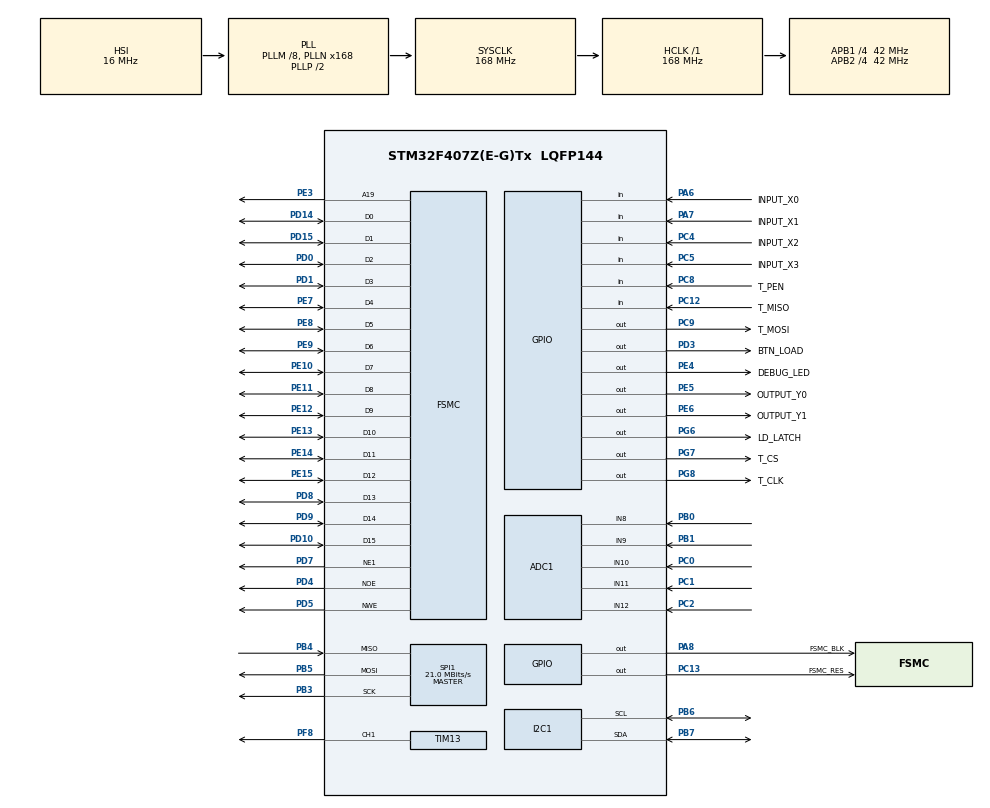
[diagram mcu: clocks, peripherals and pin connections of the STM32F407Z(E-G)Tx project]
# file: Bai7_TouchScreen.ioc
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ADC1.Channel-0\#ChannelRegularConversion=ADC_CHANNEL_8
ADC1.Channel-1\#ChannelRegularConversion=ADC_CHANNEL_9
ADC1.Channel-2\#ChannelRegularConversion=ADC_CHANNEL_10
ADC1.Channel-3\#ChannelRegularConversion=ADC_CHANNEL_11
ADC1.Channel-4\#ChannelRegularConversion=ADC_CHANNEL_12
ADC1.NbrOfConversion=5
ADC1.NbrOfConversionFlag=1
ADC1.Rank-0\#ChannelRegularConversion=1
ADC1.Rank-1\#ChannelRegularConversion=2
ADC1.Rank-2\#ChannelRegularConversion=3
ADC1.Rank-3\#ChannelRegularConversion=4
ADC1.Rank-4\#ChannelRegularConversion=5
ADC1.SamplingTime-0\#ChannelRegularConversion=ADC_SAMPLETIME_3CYCLES
ADC1.SamplingTime-1\#ChannelRegularConversion=ADC_SAMPLETIME_3CYCLES
ADC1.SamplingTime-2\#ChannelRegularConversion=ADC_SAMPLETIME_3CYCLES
ADC1.SamplingTime-3\#ChannelRegularConversion=ADC_SAMPLETIME_3CYCLES
ADC1.SamplingTime-4\#ChannelRegularConversion=ADC_SAMPLETIME_3CYCLES
ADC1.ScanConvMode=ENABLE
ADC1.master=1
Dma.ADC1.0.Direction=DMA_PERIPH_TO_MEMORY
Dma.ADC1.0.FIFOMode=DMA_FIFOMODE_DISABLE
Dma.ADC1.0.Instance=DMA2_Stream0
Dma.ADC1.0.MemDataAlignment=DMA_MDATAALIGN_HALFWORD
Dma.ADC1.0.MemInc=DMA_MINC_ENABLE
Dma.ADC1.0.Mode=DMA_CIRCULAR
Dma.ADC1.0.PeriphDataAlignment=DMA_PDATAALIGN_HALFWORD
Dma.ADC1.0.PeriphInc=DMA_PINC_DISABLE
Dma.ADC1.0.Priority=DMA_PRIORITY_LOW
Dma.Request0=ADC1
FSMC.AddressSetupTime1=0xf
FSMC.BusTurnAroundDuration1=0
FSMC.DataSetupTime1=60
FSMC.ExtendedAddressSetupTime1=8
FSMC.ExtendedBusTurnAroundDuration1=0
FSMC.ExtendedDataSetupTime1=9
FSMC.ExtendedMode1=FSMC_EXTENDED_MODE_ENABLE
I2C1.I2C_Mode=I2C_Standard
Mcu.Family=STM32F4
Mcu.Name=STM32F407Z(E-G)Tx
Mcu.Package=LQFP144
NVIC.DMA2_Stream0_IRQn=true\:0\:0\:false\:false\:true\:false\:true\:true
NVIC.PriorityGroup=NVIC_PRIORITYGROUP_4
NVIC.TIM2_IRQn=true\:0\:0\:false\:false\:true\:true\:true\:true
PA13.Mode=Serial_Wire
PA13.Signal=SYS_JTMS-SWDIO
PA14.Mode=Serial_Wire
PA14.Signal=SYS_JTCK-SWCLK
PA6.GPIO_Label=INPUT_X0
PA6.Signal=GPIO_Input
PA7.GPIO_Label=INPUT_X1
PA7.Signal=GPIO_Input
PA8.GPIO_Label=FSMC_BLK
PA8.Signal=GPIO_Output
PB0.Signal=ADCx_IN8
PB1.Signal=ADCx_IN9
PB3.Mode=Full_Duplex_Master
PB3.Signal=SPI1_SCK
PB4.Mode=Full_Duplex_Master
PB4.Signal=SPI1_MISO
PB5.Mode=Full_Duplex_Master
PB5.Signal=SPI1_MOSI
PB6.Mode=I2C
PB6.Signal=I2C1_SCL
PB7.Mode=I2C
PB7.Signal=I2C1_SDA
PC0.Signal=ADCx_IN10
PC1.Signal=ADCx_IN11
PC12.GPIO_Label=T_MISO
PC12.GPIO_PuPd=GPIO_PULLUP
PC12.Signal=GPIO_Input
PC13-ANTI_TAMP.GPIO_Label=FSMC_RES
PC13-ANTI_TAMP.Signal=GPIO_Output
PC2.Signal=ADCx_IN12
PC4.GPIO_Label=INPUT_X2
PC4.Signal=GPIO_Input
PC5.GPIO_Label=INPUT_X3
PC5.Signal=GPIO_Input
PC8.GPIO_Label=T_PEN
PC8.GPIO_PuPd=GPIO_PULLUP
PC8.Signal=GPIO_Input
PC9.GPIO_Label=T_MOSI
PC9.Signal=GPIO_Output
PD0.Signal=FSMC_D2_DA2
PD1.Signal=FSMC_D3_DA3
PD10.Signal=FSMC_D15_DA15
PD14.Signal=FSMC_D0_DA0
PD15.Signal=FSMC_D1_DA1
PD3.GPIO_Label=BTN_LOAD
PD3.Signal=GPIO_Output
PD4.Signal=FSMC_NOE
PD5.Signal=FSMC_NWE
PD7.Mode=NorPsramChipSelect1_1
PD7.Signal=FSMC_NE1
PD8.Signal=FSMC_D13_DA13
PD9.Signal=FSMC_D14_DA14
PE10.Signal=FSMC_D7_DA7
PE11.Signal=FSMC_D8_DA8
PE12.Signal=FSMC_D9_DA9
PE13.Signal=FSMC_D10_DA10
PE14.Signal=FSMC_D11_DA11
PE15.Signal=FSMC_D12_DA12
PE3.Signal=FSMC_A19
PE4.GPIO_Label=DEBUG_LED
PE4.Signal=GPIO_Output
PE5.GPIO_Label=OUTPUT_Y0
PE5.Signal=GPIO_Output
PE6.GPIO_Label=OUTPUT_Y1
PE6.Signal=GPIO_Output
PE7.Signal=FSMC_D4_DA4
PE8.Signal=FSMC_D5_DA5
PE9.Signal=FSMC_D6_DA6
PF8.Signal=S_TIM13_CH1
PG6.GPIO_Label=LD_LATCH
PG6.Signal=GPIO_Output
PG7.GPIO_Label=T_CS
PG7.Signal=GPIO_Output
PG8.GPIO_Label=T_CLK
PG8.Signal=GPIO_Output
PH0-OSC_IN.Mode=HSE-External-Oscillator
PH0-OSC_IN.Signal=RCC_OSC_IN
PH1-OSC_OUT.Mode=HSE-External-Oscillator
PH1-OSC_OUT.Signal=RCC_OSC_OUT
ProjectManager.HeapSize=0x200
ProjectManager.StackSize=0x400
ProjectManager.TargetToolchain=STM32CubeIDE
RCC.48MHZClocksFreq_Value=84000000
RCC.AHBFreq_Value=168000000
RCC.APB1CLKDivider=RCC_HCLK_DIV4
RCC.APB1Freq_Value=42000000
RCC.APB1TimFreq_Value=84000000
RCC.APB2CLKDivider=RCC_HCLK_DIV4
RCC.APB2Freq_Value=42000000
RCC.APB2TimFreq_Value=84000000
RCC.CortexFreq_Value=168000000
RCC.HCLKFreq_Value=168000000
RCC.HSE_VALUE=8000000
RCC.HSI_VALUE=16000000
RCC.LSE_VALUE=32768
RCC.PLLM=8
RCC.PLLN=168
RCC.SYSCLKFreq_VALUE=168000000
RCC.SYSCLKSource=RCC_SYSCLKSOURCE_PLLCLK
RCC.VCOOutputFreq_Value=336000000
SH.ADCx_IN10.0=ADC1_IN10,IN10
SH.ADCx_IN11.0=ADC1_IN11,IN11
SH.ADCx_IN12.0=ADC1_IN12,IN12
SH.ADCx_IN8.0=ADC1_IN8,IN8
SH.ADCx_IN9.0=ADC1_IN9,IN9
SH.FSMC_A19.0=FSMC_A19,A19_1
SH.FSMC_D0_DA0.0=FSMC_D0,16b-d1
SH.FSMC_D10_DA10.0=FSMC_D10,16b-d1
SH.FSMC_D11_DA11.0=FSMC_D11,16b-d1
SH.FSMC_D12_DA12.0=FSMC_D12,16b-d1
SH.FSMC_D13_DA13.0=FSMC_D13,16b-d1
SH.FSMC_D14_DA14.0=FSMC_D14,16b-d1
SH.FSMC_D15_DA15.0=FSMC_D15,16b-d1
SH.FSMC_D1_DA1.0=FSMC_D1,16b-d1
SH.FSMC_D2_DA2.0=FSMC_D2,16b-d1
SH.FSMC_D3_DA3.0=FSMC_D3,16b-d1
SH.FSMC_D4_DA4.0=FSMC_D4,16b-d1
SH.FSMC_D5_DA5.0=FSMC_D5,16b-d1
SH.FSMC_D6_DA6.0=FSMC_D6,16b-d1
SH.FSMC_D7_DA7.0=FSMC_D7,16b-d1
SH.FSMC_D8_DA8.0=FSMC_D8,16b-d1
SH.FSMC_D9_DA9.0=FSMC_D9,16b-d1
SH.FSMC_NOE.0=FSMC_NOE,Lcd1
SH.FSMC_NWE.0=FSMC_NWE,Lcd1
SH.S_TIM13_CH1.0=TIM13_CH1,PWM Generation1 CH1
SPI1.BaudRatePrescaler=SPI_BAUDRATEPRESCALER_2
SPI1.CalculateBaudRate=21.0 MBits/s
SPI1.Direction=SPI_DIRECTION_2LINES
SPI1.Mode=SPI_MODE_MASTER
SPI1.VirtualType=VM_MASTER
TIM1.Prescaler=84-1
TIM13.Channel=TIM_CHANNEL_1
TIM13.Period=100-1
TIM13.Prescaler=840-1
TIM2.Period=100-1
TIM2.Prescaler=840-1
VP_TIM13_VS_ClockSourceINT.Mode=Enable_Timer
VP_TIM1_VS_ClockSourceINT.Mode=Internal
VP_TIM2_VS_ClockSourceINT.Mode=Internal
board=custom

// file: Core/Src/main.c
/* USER CODE BEGIN Header */
/**
  ******************************************************************************
  * @file           : main.c
  * @brief          : Main program body
  ******************************************************************************
  * @attention
  *
  * <h2><center>&copy; Copyright (c) 2023 STMicroelectronics.
  * All rights reserved.</center></h2>
  *
  * This software component is licensed by ST under BSD 3-Clause license,
  * the "License"; You may not use this file except in compliance with the
  * License. You may obtain a copy of the License at:
  *                        opensource.org/licenses/BSD-3-Clause
  *
  ******************************************************************************
  */
/* USER CODE END Header */
#include "main.h"
#include "adc.h"
#include "dma.h"
#include "i2c.h"
#include "spi.h"
#include "tim.h"
#include "gpio.h"
#include "fsmc.h"
#include "snake.h"

/* USER CODE BEGIN Includes */
#include "software_timer.h"
#include "led_7seg.h"
#include "button.h"
#include "lcd.h"
#include "picture.h"
#include "ds3231.h"
#include "sensor.h"
#include "buzzer.h"
#include "touch.h"
#include "global.h"
/* USER CODE END Includes */

/* USER CODE BEGIN PV */
#define INIT 0
#define PLAY 1
#define CLEAR 2

int status = INIT;
/* USER CODE END PV */

void SystemClock_Config(void);
/* USER CODE BEGIN PFP */
void system_init();
void test_LedDebug();
void touchProcess();
uint8_t isButtonClear();
/* USER CODE END PFP */

int main(void)
{

  /* MCU Configuration--------------------------------------------------------*/

  /* Reset of all peripherals, Initializes the Flash interface and the Systick. */
  HAL_Init();

  /* Configure the system clock */
  SystemClock_Config();

  /* Initialize all configured peripherals */
  MX_GPIO_Init();
  MX_TIM2_Init();
  MX_SPI1_Init();
  MX_FSMC_Init();
  MX_I2C1_Init();
  MX_TIM13_Init();
  MX_DMA_Init();
  MX_ADC1_Init();
  MX_TIM1_Init();
  /* USER CODE BEGIN 2 */
  system_init();
  /* USER CODE END 2 */

  /* Infinite loop */
  /* USER CODE BEGIN WHILE */
 lcd_Clear(WHITE);
 while (1)
  {
	  //scan touch screen
	  touch_Scan();
    touchProcess();
    /* USER CODE END WHILE */

  }
}

void SystemClock_Config(void)
{
  RCC_OscInitTypeDef RCC_OscInitStruct = {0};
  RCC_ClkInitTypeDef RCC_ClkInitStruct = {0};

  /** Configure the main internal regulator output voltage
  */
  __HAL_RCC_PWR_CLK_ENABLE();
  __HAL_PWR_VOLTAGESCALING_CONFIG(PWR_REGULATOR_VOLTAGE_SCALE1);
  /** Initializes the RCC Oscillators according to the specified parameters
  * in the RCC_OscInitTypeDef structure.
  */
  RCC_OscInitStruct.OscillatorType = RCC_OSCILLATORTYPE_HSI;
  RCC_OscInitStruct.HSIState = RCC_HSI_ON;
  RCC_OscInitStruct.HSICalibrationValue = RCC_HSICALIBRATION_DEFAULT;
  RCC_OscInitStruct.PLL.PLLState = RCC_PLL_ON;
  RCC_OscInitStruct.PLL.PLLSource = RCC_PLLSOURCE_HSI;
  RCC_OscInitStruct.PLL.PLLM = 8;
  RCC_OscInitStruct.PLL.PLLN = 168;
  RCC_OscInitStruct.PLL.PLLP = RCC_PLLP_DIV2;
  RCC_OscInitStruct.PLL.PLLQ = 4;
  if (HAL_RCC_OscConfig(&RCC_OscInitStruct) != HAL_OK)
  {
    Error_Handler();
  }
  /** Initializes the CPU, AHB and APB buses clocks
  */
  RCC_ClkInitStruct.ClockType = RCC_CLOCKTYPE_HCLK|RCC_CLOCKTYPE_SYSCLK
                              |RCC_CLOCKTYPE_PCLK1|RCC_CLOCKTYPE_PCLK2;
  RCC_ClkInitStruct.SYSCLKSource = RCC_SYSCLKSOURCE_PLLCLK;
  RCC_ClkInitStruct.AHBCLKDivider = RCC_SYSCLK_DIV1;
  RCC_ClkInitStruct.APB1CLKDivider = RCC_HCLK_DIV4;
  RCC_ClkInitStruct.APB2CLKDivider = RCC_HCLK_DIV4;

  if (HAL_RCC_ClockConfig(&RCC_ClkInitStruct, FLASH_LATENCY_5) != HAL_OK)
  {
    Error_Handler();
  }
}

/* USER CODE BEGIN 4 */
void system_init(){
	  timer_init();
	  button_init();
	  lcd_init();
	  touch_init();
	  setTimer2(50);
    setTimerSnakeRun(250);
}

uint8_t count_led_debug = 0;
uint8_t isButtonClear(){
	if(!touch_IsTouched()) return 0;
	return touch_GetX() > 60 && touch_GetX() < 180 && touch_GetY() > 10 && touch_GetY() < 60;
}

uint8_t isButtonStart(){
  if (!touch_IsTouched()) return 0;
  return touch_GetX() > 60 && touch_GetX() < 180 && touch_GetY() > 10 && touch_GetY() < 60;
}

uint8_t isButtonTop(){
  if (!touch_IsTouched()) return 0;
  return touch_GetX() > 100 && touch_GetX() < 140 && touch_GetY() > 0 && touch_GetY() < 40;
}
uint8_t isButtonDown(){
  if (!touch_IsTouched()) return 0;
  return touch_GetX() > 100 && touch_GetX() < 140 && touch_GetY() > 280 && touch_GetY() < 320;
}
uint8_t isButtonLeft(){
  if (!touch_IsTouched()) return 0;
  return touch_GetX() > 0 && touch_GetX() < 40 && touch_GetY() > 140 && touch_GetY() < 180;
}
uint8_t isButtonRight(){
  if (!touch_IsTouched()) return 0;
  return touch_GetX() > 200 && touch_GetX() < 240 && touch_GetY() > 140 && touch_GetY() < 180;
}
void touchProcess(){
	switch (status) {
		case INIT:
      // display blue button
			lcd_Fill(60, 10, 180, 60, GBLUE);
			lcd_ShowStr(90, 20, "Start", RED, BLACK, 24, 1);
      if (isButtonStart()){
			  status = PLAY;
        lcd_Clear(WHITE);
        snakeInit();
        generateFruit();

        // Draw control buttons
        lcd_Fill(100, 0, 140, 40, GBLUE);      // Top center
        lcd_Fill(100, 280, 140, 320, GBLUE);   // Bottom center
        lcd_Fill(0, 140, 40, 180, GBLUE);    // Left center
        lcd_Fill(200, 140, 240, 180, GBLUE);  // Right center
        lcd_Fill(40,40,200,45, BLACK); //top wall
        lcd_Fill(40,275,200,280, BLACK); //down wall
        lcd_Fill(40,40,45,280 , BLACK); //left wall
        lcd_Fill(195,40,200,280, BLACK); //Right wall
      }
			break;
		case PLAY:
      if(touch_IsTouched()){
        if(isButtonTop()){
          buttonForSnake[0] = 1;
        }
        else if(isButtonDown()){
          buttonForSnake[5] = 1;
        }
        else if(isButtonLeft()){
          buttonForSnake[1] = 1;
        }
        else if(isButtonRight()){
          buttonForSnake[3] = 1;
        }
      }
      generateFruit();
      if (flagForSnakeRun == 1 ){
        flagForSnakeRun = 0;
        snakeRun();
      }
      if (gameover == 1){
        status = CLEAR;
        gameover = 0;
      }
			break;
		case CLEAR:
			lcd_Clear(WHITE);
      status = INIT;
			break;
		default:
			break;
	}
}
/* USER CODE END 4 */

void Error_Handler(void)
{
  __disable_irq();
  while (1)
  {
  }
}

/************************ (C) COPYRIGHT STMicroelectronics *****END OF FILE****/
